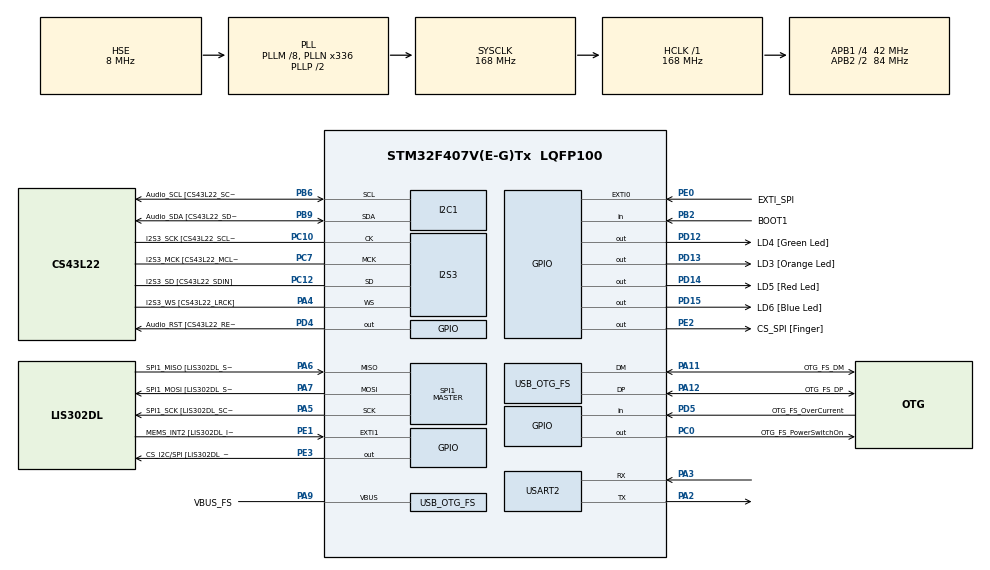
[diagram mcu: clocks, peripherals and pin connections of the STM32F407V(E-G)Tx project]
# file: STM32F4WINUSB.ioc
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Dma.Request0=USART2_RX
Dma.USART2_RX.0.Direction=DMA_PERIPH_TO_MEMORY
Dma.USART2_RX.0.FIFOMode=DMA_FIFOMODE_DISABLE
Dma.USART2_RX.0.Instance=DMA1_Stream5
Dma.USART2_RX.0.MemDataAlignment=DMA_MDATAALIGN_BYTE
Dma.USART2_RX.0.MemInc=DMA_MINC_ENABLE
Dma.USART2_RX.0.Mode=DMA_CIRCULAR
Dma.USART2_RX.0.PeriphDataAlignment=DMA_PDATAALIGN_BYTE
Dma.USART2_RX.0.PeriphInc=DMA_PINC_DISABLE
Dma.USART2_RX.0.Priority=DMA_PRIORITY_LOW
I2S3.AudioFreq-Half_Duplex_Master=I2S_AUDIOFREQ_96K
I2S3.ErrorAudioFreq=-2.34 %
I2S3.ErrorAudioFreq-Half_Duplex_Master=0.8 %
I2S3.FullDuplexMode=I2S_FULLDUPLEXMODE_DISABLE
I2S3.Instance=SPI$Index
I2S3.RealAudioFreq=93.75 KHz
I2S3.RealAudioFreq-Half_Duplex_Master=96.774 KHz
I2S3.VirtualMode=I2S_MODE_MASTER
Mcu.Family=STM32F4
Mcu.Name=STM32F407V(E-G)Tx
Mcu.Package=LQFP100
NVIC.DMA1_Stream5_IRQn=true\:0\:0\:false\:false\:true\:false\:true
NVIC.EXTI0_IRQn=true\:0\:0\:false\:false\:true\:true\:true
NVIC.OTG_FS_IRQn=true\:0\:0\:false\:false\:true\:true\:true
NVIC.PriorityGroup=NVIC_PRIORITYGROUP_0
NVIC.USART2_IRQn=true\:0\:0\:false\:false\:true\:true\:true
PA10.GPIO_Label=OTG_FS_ID
PA10.GPIO_Mode=GPIO_MODE_AF_PP
PA10.GPIO_PuPd=GPIO_NOPULL
PA10.GPIO_Speed=GPIO_SPEED_FREQ_LOW
PA10.Signal=USB_OTG_FS_ID
PA11.GPIO_Label=OTG_FS_DM
PA11.GPIO_Mode=GPIO_MODE_AF_PP
PA11.GPIO_PuPd=GPIO_NOPULL
PA11.GPIO_Speed=GPIO_SPEED_FREQ_LOW
PA11.Mode=Device_Only
PA11.Signal=USB_OTG_FS_DM
PA12.GPIO_Label=OTG_FS_DP
PA12.GPIO_Mode=GPIO_MODE_AF_PP
PA12.GPIO_PuPd=GPIO_NOPULL
PA12.GPIO_Speed=GPIO_SPEED_FREQ_LOW
PA12.Mode=Device_Only
PA12.Signal=USB_OTG_FS_DP
PA13.GPIO_Label=SWDIO
PA13.Mode=Serial_Wire
PA13.Signal=SYS_JTMS-SWDIO
PA14.GPIO_Label=SWCLK
PA14.Mode=Serial_Wire
PA14.Signal=SYS_JTCK-SWCLK
PA2.Mode=Asynchronous
PA2.Signal=USART2_TX
PA3.Mode=Asynchronous
PA3.Signal=USART2_RX
PA4.GPIO_Label=I2S3_WS [CS43L22_LRCK]
PA4.GPIO_Mode=GPIO_MODE_AF_PP
PA4.GPIO_PuPd=GPIO_NOPULL
PA4.GPIO_Speed=GPIO_SPEED_FREQ_LOW
PA4.Mode=Half_Duplex_Master
PA4.Signal=I2S3_WS
PA5.GPIO_Label=SPI1_SCK [LIS302DL_SCL/SPC]
PA5.GPIO_Mode=GPIO_MODE_AF_PP
PA5.GPIO_PuPd=GPIO_NOPULL
PA5.GPIO_Speed=GPIO_SPEED_FREQ_LOW
PA5.Mode=Full_Duplex_Master
PA5.Signal=SPI1_SCK
PA6.GPIO_Label=SPI1_MISO [LIS302DL_SDO]
PA6.GPIO_Mode=GPIO_MODE_AF_PP
PA6.GPIO_PuPd=GPIO_NOPULL
PA6.GPIO_Speed=GPIO_SPEED_FREQ_LOW
PA6.Mode=Full_Duplex_Master
PA6.Signal=SPI1_MISO
PA7.GPIO_Label=SPI1_MOSI [LIS302DL_SDA/SDI/SDO]
PA7.GPIO_Mode=GPIO_MODE_AF_PP
PA7.GPIO_PuPd=GPIO_NOPULL
PA7.GPIO_Speed=GPIO_SPEED_FREQ_LOW
PA7.Mode=Full_Duplex_Master
PA7.Signal=SPI1_MOSI
PA9.GPIO_Label=VBUS_FS
PA9.GPIO_Mode=GPIO_MODE_INPUT
PA9.GPIO_PuPd=GPIO_NOPULL
PA9.Mode=Activate_VBUS
PA9.Signal=USB_OTG_FS_VBUS
PB10.GPIO_Label=CLK_IN [MP45DT02_CLK]
PB10.GPIO_Mode=GPIO_MODE_AF_PP
PB10.GPIO_PuPd=GPIO_NOPULL
PB10.GPIO_Speed=GPIO_SPEED_FREQ_LOW
PB10.Signal=I2S2_CK
PB2.GPIO_Label=BOOT1
PB2.GPIO_Mode=GPIO_MODE_INPUT
PB2.GPIO_PuPd=GPIO_NOPULL
PB2.Signal=GPIO_Input
PB3.GPIO_Label=SWO
PB3.Signal=SYS_JTDO-SWO
PB6.GPIO_Label=Audio_SCL [CS43L22_SCL]
PB6.GPIO_Mode=GPIO_MODE_AF_OD
PB6.GPIO_PuPd=GPIO_NOPULL
PB6.GPIO_Speed=GPIO_SPEED_FREQ_LOW
PB6.Mode=I2C
PB6.Signal=I2C1_SCL
PB9.GPIO_Label=Audio_SDA [CS43L22_SDA]
PB9.GPIO_Mode=GPIO_MODE_AF_OD
PB9.GPIO_PuPd=GPIO_NOPULL
PB9.GPIO_Speed=GPIO_SPEED_FREQ_LOW
PB9.Mode=I2C
PB9.Signal=I2C1_SDA
PC0.GPIO_Label=OTG_FS_PowerSwitchOn
PC0.GPIO_PuPd=GPIO_NOPULL
PC0.GPIO_Speed=GPIO_SPEED_FREQ_LOW
PC0.PinState=GPIO_PIN_SET
PC0.Signal=GPIO_Output
PC10.GPIO_Label=I2S3_SCK [CS43L22_SCLK]
PC10.GPIO_Mode=GPIO_MODE_AF_PP
PC10.GPIO_PuPd=GPIO_NOPULL
PC10.GPIO_Speed=GPIO_SPEED_FREQ_LOW
PC10.Mode=Half_Duplex_Master
PC10.Signal=I2S3_CK
PC12.GPIO_Label=I2S3_SD [CS43L22_SDIN]
PC12.GPIO_Mode=GPIO_MODE_AF_PP
PC12.GPIO_PuPd=GPIO_NOPULL
PC12.GPIO_Speed=GPIO_SPEED_FREQ_LOW
PC12.Mode=Half_Duplex_Master
PC12.Signal=I2S3_SD
PC14-OSC32_IN.GPIO_Label=PC14-OSC32_IN
PC14-OSC32_IN.Mode=LSE-External-Oscillator
PC14-OSC32_IN.Signal=RCC_OSC32_IN
PC15-OSC32_OUT.GPIO_Label=PC15-OSC32_OUT
PC15-OSC32_OUT.Mode=LSE-External-Oscillator
PC15-OSC32_OUT.Signal=RCC_OSC32_OUT
PC3.GPIO_Label=PDM_OUT [MP45DT02_DOUT]
PC3.GPIO_Mode=GPIO_MODE_AF_PP
PC3.GPIO_PuPd=GPIO_NOPULL
PC3.GPIO_Speed=GPIO_SPEED_FREQ_LOW
PC3.Signal=I2S2_SD
PC7.GPIO_Label=I2S3_MCK [CS43L22_MCLK]
PC7.GPIO_Mode=GPIO_MODE_AF_PP
PC7.GPIO_PuPd=GPIO_NOPULL
PC7.GPIO_Speed=GPIO_SPEED_FREQ_LOW
PC7.Mode=Master_Clock_Activated
PC7.Signal=I2S3_MCK
PD12.GPIO_Label=LD4 [Green Led]
PD12.GPIO_PuPd=GPIO_NOPULL
PD12.GPIO_Speed=GPIO_SPEED_FREQ_LOW
PD12.Signal=GPIO_Output
PD13.GPIO_Label=LD3 [Orange Led]
PD13.GPIO_PuPd=GPIO_NOPULL
PD13.GPIO_Speed=GPIO_SPEED_FREQ_LOW
PD13.Signal=GPIO_Output
PD14.GPIO_Label=LD5 [Red Led]
PD14.GPIO_PuPd=GPIO_NOPULL
PD14.GPIO_Speed=GPIO_SPEED_FREQ_LOW
PD14.Signal=GPIO_Output
PD15.GPIO_Label=LD6 [Blue Led]
PD15.GPIO_PuPd=GPIO_NOPULL
PD15.GPIO_Speed=GPIO_SPEED_FREQ_LOW
PD15.Signal=GPIO_Output
PD4.GPIO_Label=Audio_RST [CS43L22_RESET]
PD4.GPIO_PuPd=GPIO_NOPULL
PD4.GPIO_Speed=GPIO_SPEED_FREQ_LOW
PD4.Signal=GPIO_Output
PD5.GPIO_Label=OTG_FS_OverCurrent
PD5.GPIO_Mode=GPIO_MODE_INPUT
PD5.GPIO_PuPd=GPIO_NOPULL
PD5.Signal=GPIO_Input
PE0.GPIO_Label=EXTI_SPI
PE0.Signal=GPXTI0
PE1.GPIO_Label=MEMS_INT2 [LIS302DL_INT2]
PE1.GPIO_ModeDefaultEXTI=GPIO_MODE_EVT_RISING
PE1.GPIO_PuPd=GPIO_NOPULL
PE1.Signal=GPXTI1
PE2.GPIO_Label=CS_SPI [Finger]
PE2.PinState=GPIO_PIN_SET
PE2.Signal=GPIO_Output
PE3.GPIO_Label=CS_I2C/SPI [LIS302DL_CS_I2C/SPI]
PE3.GPIO_PuPd=GPIO_NOPULL
PE3.GPIO_Speed=GPIO_SPEED_FREQ_LOW
PE3.PinState=GPIO_PIN_SET
PE3.Signal=GPIO_Output
PH0-OSC_IN.GPIO_Label=PH0-OSC_IN
PH0-OSC_IN.Mode=HSE-External-Oscillator
PH0-OSC_IN.Signal=RCC_OSC_IN
PH1-OSC_OUT.GPIO_Label=PH1-OSC_OUT
PH1-OSC_OUT.Mode=HSE-External-Oscillator
PH1-OSC_OUT.Signal=RCC_OSC_OUT
ProjectManager.HeapSize=0x2000
ProjectManager.StackSize=0x4000
ProjectManager.TargetToolchain=MDK-ARM V5.27
RCC.48MHZClocksFreq_Value=48000000
RCC.AHBFreq_Value=168000000
RCC.APB1CLKDivider=RCC_HCLK_DIV4
RCC.APB1Freq_Value=42000000
RCC.APB1TimFreq_Value=84000000
RCC.APB2CLKDivider=RCC_HCLK_DIV2
RCC.APB2Freq_Value=84000000
RCC.APB2TimFreq_Value=168000000
RCC.CortexFreq_Value=168000000
RCC.HCLKFreq_Value=168000000
RCC.HSE_VALUE=8000000
RCC.HSI_VALUE=16000000
RCC.PLLM=8
RCC.PLLN=336
RCC.PLLQ=7
RCC.SYSCLKFreq_VALUE=168000000
RCC.SYSCLKSource=RCC_SYSCLKSOURCE_PLLCLK
RCC.VCOOutputFreq_Value=336000000
SPI1.BaudRatePrescaler-Full_Duplex_Master=SPI_BAUDRATEPRESCALER_2
SPI1.CalculateBaudRate-Full_Duplex_Master=42.0 MBits/s
SPI1.Direction=SPI_DIRECTION_2LINES
SPI1.Mode=SPI_MODE_MASTER
SPI1.Mode-Full_Duplex_Master=SPI_MODE_MASTER
SPI1.VirtualType=VM_MASTER
USART2.VirtualMode=VM_ASYNC
USB_DEVICE.CLASS_NAME_FS=CDC
USB_DEVICE.CONFIGURATION_STRING_CDC_FS=WINUSB Config
USB_DEVICE.INTERFACE_STRING_CDC_FS=WINUSB Interface
USB_DEVICE.PID_CDC_FS=0x0290
USB_DEVICE.PRODUCT_STRING_CDC_FS=STM32 WINUSB
USB_DEVICE.VID-CDC_FS=0x4701
USB_DEVICE.VirtualMode-CDC_FS=Cdc
USB_DEVICE.VirtualModeFS=Cdc_FS
USB_OTG_FS.VirtualMode=Device_Only
VP_USB_DEVICE_VS_USB_DEVICE_CDC_FS.Mode=CDC_FS
board=STM32F4DISCOVERY

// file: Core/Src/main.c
/**
  ******************************************************************************
  * @file           : main.c
  * @brief          : Main program body
  ******************************************************************************
  * This notice applies to any and all portions of this file
  * that are not between comment pairs USER CODE BEGIN and
  * USER CODE END. Other portions of this file, whether
  * inserted by the user or by software development tools
  * are owned by their respective copyright owners.
  *
  * Copyright (c) 2020 STMicroelectronics International N.V.
  * All rights reserved.
  *
  * Redistribution and use in source and binary forms, with or without
  * modification, are permitted, provided that the following conditions are met:
  *
  * 1. Redistribution of source code must retain the above copyright notice,
  *    this list of conditions and the following disclaimer.
  * 2. Redistributions in binary form must reproduce the above copyright notice,
  *    this list of conditions and the following disclaimer in the documentation
  *    and/or other materials provided with the distribution.
  * 3. Neither the name of STMicroelectronics nor the names of other
  *    contributors to this software may be used to endorse or promote products
  *    derived from this software without specific written permission.
  * 4. This software, including modifications and/or derivative works of this
  *    software, must execute solely and exclusively on microcontroller or
  *    microprocessor devices manufactured by or for STMicroelectronics.
  * 5. Redistribution and use of this software other than as permitted under
  *    this license is void and will automatically terminate your rights under
  *    this license.
  *
  * THIS SOFTWARE IS PROVIDED BY STMICROELECTRONICS AND CONTRIBUTORS "AS IS"
  * AND ANY EXPRESS, IMPLIED OR STATUTORY WARRANTIES, INCLUDING, BUT NOT
  * LIMITED TO, THE IMPLIED WARRANTIES OF MERCHANTABILITY, FITNESS FOR A
  * PARTICULAR PURPOSE AND NON-INFRINGEMENT OF THIRD PARTY INTELLECTUAL PROPERTY
  * RIGHTS ARE DISCLAIMED TO THE FULLEST EXTENT PERMITTED BY LAW. IN NO EVENT
  * SHALL STMICROELECTRONICS OR CONTRIBUTORS BE LIABLE FOR ANY DIRECT, INDIRECT,
  * INCIDENTAL, SPECIAL, EXEMPLARY, OR CONSEQUENTIAL DAMAGES (INCLUDING, BUT NOT
  * LIMITED TO, PROCUREMENT OF SUBSTITUTE GOODS OR SERVICES; LOSS OF USE, DATA,
  * OR PROFITS; OR BUSINESS INTERRUPTION) HOWEVER CAUSED AND ON ANY THEORY OF
  * LIABILITY, WHETHER IN CONTRACT, STRICT LIABILITY, OR TORT (INCLUDING
  * NEGLIGENCE OR OTHERWISE) ARISING IN ANY WAY OUT OF THE USE OF THIS SOFTWARE,
  * EVEN IF ADVISED OF THE POSSIBILITY OF SUCH DAMAGE.
  *
  ******************************************************************************
  */
#include "main.h"
#include "stm32f4xx_hal.h"
#include "usb_device.h"

/* USER CODE BEGIN Includes */
#include "usbd_cdc_if.h"

/* USER CODE END Includes */

I2C_HandleTypeDef hi2c1;

I2S_HandleTypeDef hi2s3;

SPI_HandleTypeDef hspi1;

UART_HandleTypeDef huart2;
DMA_HandleTypeDef hdma_usart2_rx;

/* USER CODE BEGIN PV */
/* Private variables ---------------------------------------------------------*/
//USB
uint8_t usb_rx[512];
uint8_t usb_tx[512];
volatile uint32_t ir;
volatile uint32_t iw;
volatile int8_t usb_rxne = RESET; //RESET: no data in usb_rx to read
volatile int8_t usb_txe = SET;    //RESET: no space in usb_tx to load data to write
int tx_len = 0;
int ret_tran = 0;

//UART
uint8_t uart_rx[8];
uint8_t uart_rxc[2];
uint8_t uart_tx[8];
int iurx;
int iutx;
int8_t uart_dump = RESET;

//SPI
uint8_t spi_rx[512];
uint8_t spi_tx[512];
int8_t enable_acc = RESET;
int8_t enable_bridge_acc = RESET;

/* USER CODE END PV */

void SystemClock_Config(void);
static void MX_GPIO_Init(void);
static void MX_DMA_Init(void);
static void MX_I2C1_Init(void);
static void MX_I2S3_Init(void);
static void MX_SPI1_Init(void);
static void MX_USART2_UART_Init(void);

/* USER CODE BEGIN PFP */
/* Private function prototypes -----------------------------------------------*/
void LOGD(uint8_t *msg, int len);
void on_CDC_Receive_FS(uint32_t len);
/* USER CODE END PFP */

/* USER CODE BEGIN 0 */
/**
  * @brief  Rx Transfer completed callbacks.
  * @param  huart  Pointer to a UART_HandleTypeDef structure that contains
  *                the configuration information for the specified UART module.
  * @retval None
  */
void HAL_UART_RxCpltCallback(UART_HandleTypeDef *huart)
{
	//add received data to uart rx buffer
	iurx = iurx%8;
	uart_rx[iurx] = uart_rxc[0];

#if 1 //print uart rx	buffer
	char msg[128];
	int len = 0;
	sprintf(msg, "UART received:0x%2x at index:%d\n", uart_rxc[0], iurx);
	len = strlen(msg);
	if (len < 0 || len > 128) len = 0;
	//HAL_UART_Transmit(&huart2, (uint8_t*)msg, len, 100*len);
	LOGD((uint8_t*)msg, len);
#endif

	if (uart_rxc[0] == 'A') {
		enable_acc = SET;
	}
	else if (uart_rxc[0] == 'B') {
		enable_acc = RESET;
		uart_dump = RESET;
	}
	else if (uart_rxc[0] == 'C') {
		uart_dump = SET;
	}
	else if (uart_rxc[0] == 'D') {
		enable_bridge_acc = SET;
	}

	iurx += 1;
}

void LOGD(uint8_t *msg, int len) {
	HAL_UART_Transmit(&huart2, (uint8_t*)msg, len, 100*len);
}

void on_CDC_Receive_FS(uint32_t len) {
	ret_tran = 0;
	HAL_GPIO_TogglePin(LD3_GPIO_Port, LD3_Pin);
	if (usb_rxne != SET) return;
	extern int8_t CDC_is_busy(void);
	if (CDC_is_busy()) return;

#if 1 //uart print
	char msg[64];
	sprintf(msg, "[%s] USB ENDPOINT RECV:%d bytes\n", __func__, len);
	LOGD((uint8_t*)msg, strlen(msg));
#endif

	if (enable_bridge_acc == SET) {
		HAL_GPIO_WritePin(GPIOE, CS_I2C_SPI_Pin, GPIO_PIN_RESET); //CS ON
		memcpy(spi_tx, usb_rx, len);
#if 1
		HAL_SPI_Transmit(&hspi1, spi_tx, len, 50*len);
		int i = 0x100;
		while(i--) {__NOP();}
		HAL_SPI_Receive(&hspi1, spi_rx, len, 50*len);
#else
		HAL_SPI_TransmitReceive(&hspi1, spi_tx, spi_rx, len, 50*len);
#endif
		HAL_GPIO_WritePin(GPIOE, CS_I2C_SPI_Pin, GPIO_PIN_SET); //CS OFF
		memcpy(usb_tx, spi_rx, len);
		CDC_Transmit_FS(usb_tx, len);
	}
	else {
#if 0 //USB loopback method 1, fast but can not support more than 64 bytes
		memcpy(usb_tx, usb_rx, len);
		ret_tran = CDC_Transmit_FS(usb_tx, len);
#if 1 //uart print
		memset(msg, 0, 64);
		sprintf(msg, "[%s] USB ENDPOINT TRAN:%d bytes (ret:%d)\n", __func__, len, ret_tran);
		LOGD((uint8_t*)msg, strlen(msg));
#endif
#elif 1	//USB loopback method 2, transmit later but can support more than 64 bytes
		if (iw < 512) {
			memcpy(usb_tx+iw, usb_rx, len);
			iw += len;
			tx_len += len;
		}
		else {
			memset(usb_tx, 0, 512);
			iw = 0;
			tx_len = 0;
		}
#else
			__NOP();
#endif
	}

	ir = 0;
	usb_rxne = RESET;
	HAL_GPIO_TogglePin(LD3_GPIO_Port, LD3_Pin);
}

void init_ACC() {
	//acc config
	HAL_GPIO_WritePin(GPIOE, CS_I2C_SPI_Pin, GPIO_PIN_RESET); //CS ON
	spi_tx[0] = 0x20;
	spi_tx[1] = 0x11;
	HAL_SPI_Transmit(&hspi1, spi_tx, 2, 50*2);
	HAL_GPIO_WritePin(GPIOE, CS_I2C_SPI_Pin, GPIO_PIN_SET); //CS OFF
	//acc read for checking config
	HAL_GPIO_WritePin(GPIOE, CS_I2C_SPI_Pin, GPIO_PIN_RESET); //CS ON
	spi_tx[0] = 0x80|0x20;
	HAL_SPI_Transmit(&hspi1, spi_tx, 1, 50*1);
	HAL_SPI_Receive(&hspi1, spi_rx, 1, 50*1);
#if 1 //uart print
	char msg[64];
	sprintf(msg, "CTRL_REG4:0x%x\n", spi_rx[0]);
	LOGD((uint8_t*)msg, strlen(msg));
#endif
	HAL_GPIO_WritePin(GPIOE, CS_I2C_SPI_Pin, GPIO_PIN_SET); //CS OFF
}

/* USER CODE END 0 */

int main(void)
{

  /* MCU Configuration----------------------------------------------------------*/

  /* Reset of all peripherals, Initializes the Flash interface and the Systick. */
  HAL_Init();

  /* Configure the system clock */
  SystemClock_Config();

  /* Initialize all configured peripherals */
  MX_GPIO_Init();
  MX_DMA_Init();
  MX_I2C1_Init();
  MX_I2S3_Init();
  MX_SPI1_Init();
  MX_USB_DEVICE_Init();
  MX_USART2_UART_Init();
  /* USER CODE BEGIN 2 */
	memset(uart_rx, 0xff, 8);
	memset(uart_tx, 0xff, 8);
	char msg[16*8];
	HAL_UART_Receive_DMA(&huart2, uart_rxc, 1);

	init_ACC();

  /* USER CODE END 2 */

  /* Infinite loop */
  /* USER CODE BEGIN WHILE */
  while (1)
  {
		//spi task cycle
		if (enable_acc == SET) {
			uint16_t x = 0;
#if 1
			//acc read x HB value
			HAL_GPIO_WritePin(GPIOE, CS_I2C_SPI_Pin, GPIO_PIN_RESET); //CS ON
			spi_tx[0] = 0x80|0x29;
			HAL_SPI_Transmit(&hspi1, spi_tx, 1, 50*1);
			HAL_SPI_Receive(&hspi1, spi_rx, 1, 50*1);
			x |= spi_rx[0]<<8;
			HAL_GPIO_WritePin(GPIOE, CS_I2C_SPI_Pin, GPIO_PIN_SET); //CS OFF
			//acc read x LB value
			HAL_GPIO_WritePin(GPIOE, CS_I2C_SPI_Pin, GPIO_PIN_RESET); //CS ON
			spi_tx[0] = 0x80|0x28;
			HAL_SPI_Transmit(&hspi1, spi_tx, 1, 50*1);
			HAL_SPI_Receive(&hspi1, spi_rx, 1, 50*1);
			x |= spi_rx[0]<<0;
			sprintf(msg, "X:%d(0x%x)\n", (int16_t)x, x);
			LOGD((uint8_t*)msg, strlen(msg));
			HAL_GPIO_WritePin(GPIOE, CS_I2C_SPI_Pin, GPIO_PIN_SET); //CS OFF
#else
			//acc read x LB value
			HAL_GPIO_WritePin(GPIOE, CS_I2C_SPI_Pin, GPIO_PIN_RESET); //CS ON
			spi_tx[0] = 0x80|0x28;
			spi_tx[1] = 0x0;
			HAL_SPI_TransmitReceive(&hspi1, spi_tx, spi_rx, 2, 50*2);
			x |= spi_rx[1]<<8 | spi_rx[0];
			sprintf(msg, "X:%d(0x%x)\n", (int16_t)x, x);
			LOGD((uint8_t*)msg, strlen(msg));
			HAL_GPIO_WritePin(GPIOE, CS_I2C_SPI_Pin, GPIO_PIN_SET); //CS OFF
#endif
		}
		//enable_acc = RESET;

		//usb task cycle

		//uart task cycle
		if (uart_dump == SET) {
			char msg[16*8];
			char c[8];
			int l = 0;
			sprintf(msg, "UART RX:\n");
			for (int i=0; i<8; i++) {
				sprintf(c, "[%2x]", uart_rx[i]);
				strcat(msg, c);
				if ((i+1)%(4) == 0) {
					strcat(msg, "\n");
				}
			}
			strcat(msg, "\n");
			l = strlen(msg);
			if (l < 0 || l > sizeof(msg)) l = sizeof(msg);
			HAL_UART_Transmit(&huart2, (uint8_t*)msg, l, 100*l);
		}

		if (iw != 0) {
			usb_txe = RESET;
			ret_tran = CDC_Transmit_FS(usb_tx, tx_len);
#if 1 //uart print
			memset(msg, 0, 64);
			sprintf(msg, "[%s] USB ENDPOINT TRAN:%d bytes (ret:%d)\n", __func__, tx_len, ret_tran);
			LOGD((uint8_t*)msg, strlen(msg));
#endif
			iw = 0;
			tx_len = 0;
			usb_txe = SET;
		}
		else {
			usb_txe = SET;
		}

		HAL_Delay(100);
		/* USER CODE END WHILE */
  }

}

void SystemClock_Config(void)
{

  RCC_OscInitTypeDef RCC_OscInitStruct;
  RCC_ClkInitTypeDef RCC_ClkInitStruct;
  RCC_PeriphCLKInitTypeDef PeriphClkInitStruct;

    /**Configure the main internal regulator output voltage
    */
  __HAL_RCC_PWR_CLK_ENABLE();

  __HAL_PWR_VOLTAGESCALING_CONFIG(PWR_REGULATOR_VOLTAGE_SCALE1);

    /**Initializes the CPU, AHB and APB busses clocks
    */
  RCC_OscInitStruct.OscillatorType = RCC_OSCILLATORTYPE_HSE;
  RCC_OscInitStruct.HSEState = RCC_HSE_ON;
  RCC_OscInitStruct.PLL.PLLState = RCC_PLL_ON;
  RCC_OscInitStruct.PLL.PLLSource = RCC_PLLSOURCE_HSE;
  RCC_OscInitStruct.PLL.PLLM = 8;
  RCC_OscInitStruct.PLL.PLLN = 336;
  RCC_OscInitStruct.PLL.PLLP = RCC_PLLP_DIV2;
  RCC_OscInitStruct.PLL.PLLQ = 7;
  if (HAL_RCC_OscConfig(&RCC_OscInitStruct) != HAL_OK)
  {
    _Error_Handler(__FILE__, __LINE__);
  }

    /**Initializes the CPU, AHB and APB busses clocks
    */
  RCC_ClkInitStruct.ClockType = RCC_CLOCKTYPE_HCLK|RCC_CLOCKTYPE_SYSCLK
                              |RCC_CLOCKTYPE_PCLK1|RCC_CLOCKTYPE_PCLK2;
  RCC_ClkInitStruct.SYSCLKSource = RCC_SYSCLKSOURCE_PLLCLK;
  RCC_ClkInitStruct.AHBCLKDivider = RCC_SYSCLK_DIV1;
  RCC_ClkInitStruct.APB1CLKDivider = RCC_HCLK_DIV4;
  RCC_ClkInitStruct.APB2CLKDivider = RCC_HCLK_DIV2;

  if (HAL_RCC_ClockConfig(&RCC_ClkInitStruct, FLASH_LATENCY_5) != HAL_OK)
  {
    _Error_Handler(__FILE__, __LINE__);
  }

  PeriphClkInitStruct.PeriphClockSelection = RCC_PERIPHCLK_I2S;
  PeriphClkInitStruct.PLLI2S.PLLI2SN = 192;
  PeriphClkInitStruct.PLLI2S.PLLI2SR = 2;
  if (HAL_RCCEx_PeriphCLKConfig(&PeriphClkInitStruct) != HAL_OK)
  {
    _Error_Handler(__FILE__, __LINE__);
  }

    /**Configure the Systick interrupt time
    */
  HAL_SYSTICK_Config(HAL_RCC_GetHCLKFreq()/1000);

    /**Configure the Systick
    */
  HAL_SYSTICK_CLKSourceConfig(SYSTICK_CLKSOURCE_HCLK);

  /* SysTick_IRQn interrupt configuration */
  HAL_NVIC_SetPriority(SysTick_IRQn, 0, 0);
}

/* I2C1 init function */
static void MX_I2C1_Init(void)
{

  hi2c1.Instance = I2C1;
  hi2c1.Init.ClockSpeed = 100000;
  hi2c1.Init.DutyCycle = I2C_DUTYCYCLE_2;
  hi2c1.Init.OwnAddress1 = 0;
  hi2c1.Init.AddressingMode = I2C_ADDRESSINGMODE_7BIT;
  hi2c1.Init.DualAddressMode = I2C_DUALADDRESS_DISABLE;
  hi2c1.Init.OwnAddress2 = 0;
  hi2c1.Init.GeneralCallMode = I2C_GENERALCALL_DISABLE;
  hi2c1.Init.NoStretchMode = I2C_NOSTRETCH_DISABLE;
  if (HAL_I2C_Init(&hi2c1) != HAL_OK)
  {
    _Error_Handler(__FILE__, __LINE__);
  }

}

/* I2S3 init function */
static void MX_I2S3_Init(void)
{

  hi2s3.Instance = SPI3;
  hi2s3.Init.Mode = I2S_MODE_MASTER_TX;
  hi2s3.Init.Standard = I2S_STANDARD_PHILIPS;
  hi2s3.Init.DataFormat = I2S_DATAFORMAT_16B;
  hi2s3.Init.MCLKOutput = I2S_MCLKOUTPUT_ENABLE;
  hi2s3.Init.AudioFreq = I2S_AUDIOFREQ_96K;
  hi2s3.Init.CPOL = I2S_CPOL_LOW;
  hi2s3.Init.ClockSource = I2S_CLOCK_PLL;
  hi2s3.Init.FullDuplexMode = I2S_FULLDUPLEXMODE_DISABLE;
  if (HAL_I2S_Init(&hi2s3) != HAL_OK)
  {
    _Error_Handler(__FILE__, __LINE__);
  }

}

/* SPI1 init function */
static void MX_SPI1_Init(void)
{

  /* SPI1 parameter configuration*/
  hspi1.Instance = SPI1;
  hspi1.Init.Mode = SPI_MODE_MASTER;
  hspi1.Init.Direction = SPI_DIRECTION_2LINES;
  hspi1.Init.DataSize = SPI_DATASIZE_8BIT;
  hspi1.Init.CLKPolarity = SPI_POLARITY_LOW;
  hspi1.Init.CLKPhase = SPI_PHASE_1EDGE;
  hspi1.Init.NSS = SPI_NSS_SOFT;
  //hspi1.Init.BaudRatePrescaler = SPI_BAUDRATEPRESCALER_2;
	//hspi1.Init.BaudRatePrescaler = SPI_BAUDRATEPRESCALER_16;
	hspi1.Init.BaudRatePrescaler = SPI_BAUDRATEPRESCALER_256;
  hspi1.Init.FirstBit = SPI_FIRSTBIT_MSB;
  hspi1.Init.TIMode = SPI_TIMODE_DISABLE;
  hspi1.Init.CRCCalculation = SPI_CRCCALCULATION_DISABLE;
  hspi1.Init.CRCPolynomial = 10;
  if (HAL_SPI_Init(&hspi1) != HAL_OK)
  {
    _Error_Handler(__FILE__, __LINE__);
  }

}

/* USART2 init function */
static void MX_USART2_UART_Init(void)
{

  huart2.Instance = USART2;
  huart2.Init.BaudRate = 115200;
  huart2.Init.WordLength = UART_WORDLENGTH_8B;
  huart2.Init.StopBits = UART_STOPBITS_1;
  huart2.Init.Parity = UART_PARITY_NONE;
  huart2.Init.Mode = UART_MODE_TX_RX;
  huart2.Init.HwFlowCtl = UART_HWCONTROL_NONE;
  huart2.Init.OverSampling = UART_OVERSAMPLING_16;
  if (HAL_UART_Init(&huart2) != HAL_OK)
  {
    _Error_Handler(__FILE__, __LINE__);
  }

}

static void MX_DMA_Init(void)
{
  /* DMA controller clock enable */
  __HAL_RCC_DMA1_CLK_ENABLE();

  /* DMA interrupt init */
  /* DMA1_Stream5_IRQn interrupt configuration */
  HAL_NVIC_SetPriority(DMA1_Stream5_IRQn, 0, 0);
  HAL_NVIC_EnableIRQ(DMA1_Stream5_IRQn);

}

/** Configure pins as
        * Analog
        * Input
        * Output
        * EVENT_OUT
        * EXTI
     PC3   ------> I2S2_SD
     PB10   ------> I2S2_CK
*/
static void MX_GPIO_Init(void)
{

  GPIO_InitTypeDef GPIO_InitStruct;

  /* GPIO Ports Clock Enable */
  __HAL_RCC_GPIOE_CLK_ENABLE();
  __HAL_RCC_GPIOC_CLK_ENABLE();
  __HAL_RCC_GPIOH_CLK_ENABLE();
  __HAL_RCC_GPIOA_CLK_ENABLE();
  __HAL_RCC_GPIOB_CLK_ENABLE();
  __HAL_RCC_GPIOD_CLK_ENABLE();

  /*Configure GPIO pin Output Level */
  HAL_GPIO_WritePin(GPIOE, CS_SPI_Pin|CS_I2C_SPI_Pin, GPIO_PIN_SET);

  /*Configure GPIO pin Output Level */
  HAL_GPIO_WritePin(OTG_FS_PowerSwitchOn_GPIO_Port, OTG_FS_PowerSwitchOn_Pin, GPIO_PIN_SET);

  /*Configure GPIO pin Output Level */
  HAL_GPIO_WritePin(GPIOD, LD4_Pin|LD3_Pin|LD5_Pin|LD6_Pin
                          |Audio_RST_Pin, GPIO_PIN_RESET);

  /*Configure GPIO pins : CS_SPI_Pin CS_I2C_SPI_Pin */
  GPIO_InitStruct.Pin = CS_SPI_Pin|CS_I2C_SPI_Pin;
  GPIO_InitStruct.Mode = GPIO_MODE_OUTPUT_PP;
  GPIO_InitStruct.Pull = GPIO_NOPULL;
  GPIO_InitStruct.Speed = GPIO_SPEED_FREQ_LOW;
  HAL_GPIO_Init(GPIOE, &GPIO_InitStruct);

  /*Configure GPIO pin : OTG_FS_PowerSwitchOn_Pin */
  GPIO_InitStruct.Pin = OTG_FS_PowerSwitchOn_Pin;
  GPIO_InitStruct.Mode = GPIO_MODE_OUTPUT_PP;
  GPIO_InitStruct.Pull = GPIO_NOPULL;
  GPIO_InitStruct.Speed = GPIO_SPEED_FREQ_LOW;
  HAL_GPIO_Init(OTG_FS_PowerSwitchOn_GPIO_Port, &GPIO_InitStruct);

  /*Configure GPIO pin : PDM_OUT_Pin */
  GPIO_InitStruct.Pin = PDM_OUT_Pin;
  GPIO_InitStruct.Mode = GPIO_MODE_AF_PP;
  GPIO_InitStruct.Pull = GPIO_NOPULL;
  GPIO_InitStruct.Speed = GPIO_SPEED_FREQ_LOW;
  GPIO_InitStruct.Alternate = GPIO_AF5_SPI2;
  HAL_GPIO_Init(PDM_OUT_GPIO_Port, &GPIO_InitStruct);

  /*Configure GPIO pin : BOOT1_Pin */
  GPIO_InitStruct.Pin = BOOT1_Pin;
  GPIO_InitStruct.Mode = GPIO_MODE_INPUT;
  GPIO_InitStruct.Pull = GPIO_NOPULL;
  HAL_GPIO_Init(BOOT1_GPIO_Port, &GPIO_InitStruct);

  /*Configure GPIO pin : CLK_IN_Pin */
  GPIO_InitStruct.Pin = CLK_IN_Pin;
  GPIO_InitStruct.Mode = GPIO_MODE_AF_PP;
  GPIO_InitStruct.Pull = GPIO_NOPULL;
  GPIO_InitStruct.Speed = GPIO_SPEED_FREQ_LOW;
  GPIO_InitStruct.Alternate = GPIO_AF5_SPI2;
  HAL_GPIO_Init(CLK_IN_GPIO_Port, &GPIO_InitStruct);

  /*Configure GPIO pins : LD4_Pin LD3_Pin LD5_Pin LD6_Pin
                           Audio_RST_Pin */
  GPIO_InitStruct.Pin = LD4_Pin|LD3_Pin|LD5_Pin|LD6_Pin
                          |Audio_RST_Pin;
  GPIO_InitStruct.Mode = GPIO_MODE_OUTPUT_PP;
  GPIO_InitStruct.Pull = GPIO_NOPULL;
  GPIO_InitStruct.Speed = GPIO_SPEED_FREQ_LOW;
  HAL_GPIO_Init(GPIOD, &GPIO_InitStruct);

  /*Configure GPIO pin : OTG_FS_OverCurrent_Pin */
  GPIO_InitStruct.Pin = OTG_FS_OverCurrent_Pin;
  GPIO_InitStruct.Mode = GPIO_MODE_INPUT;
  GPIO_InitStruct.Pull = GPIO_NOPULL;
  HAL_GPIO_Init(OTG_FS_OverCurrent_GPIO_Port, &GPIO_InitStruct);

  /*Configure GPIO pin : EXTI_SPI_Pin */
  GPIO_InitStruct.Pin = EXTI_SPI_Pin;
  GPIO_InitStruct.Mode = GPIO_MODE_IT_RISING;
  GPIO_InitStruct.Pull = GPIO_NOPULL;
  HAL_GPIO_Init(EXTI_SPI_GPIO_Port, &GPIO_InitStruct);

  /*Configure GPIO pin : MEMS_INT2_Pin */
  GPIO_InitStruct.Pin = MEMS_INT2_Pin;
  GPIO_InitStruct.Mode = GPIO_MODE_EVT_RISING;
  GPIO_InitStruct.Pull = GPIO_NOPULL;
  HAL_GPIO_Init(MEMS_INT2_GPIO_Port, &GPIO_InitStruct);

  /* EXTI interrupt init*/
  HAL_NVIC_SetPriority(EXTI0_IRQn, 0, 0);
  HAL_NVIC_EnableIRQ(EXTI0_IRQn);

}

void _Error_Handler(char *file, int line)
{
  while(1)
  {
  }
}

/************************ (C) COPYRIGHT STMicroelectronics *****END OF FILE****/
